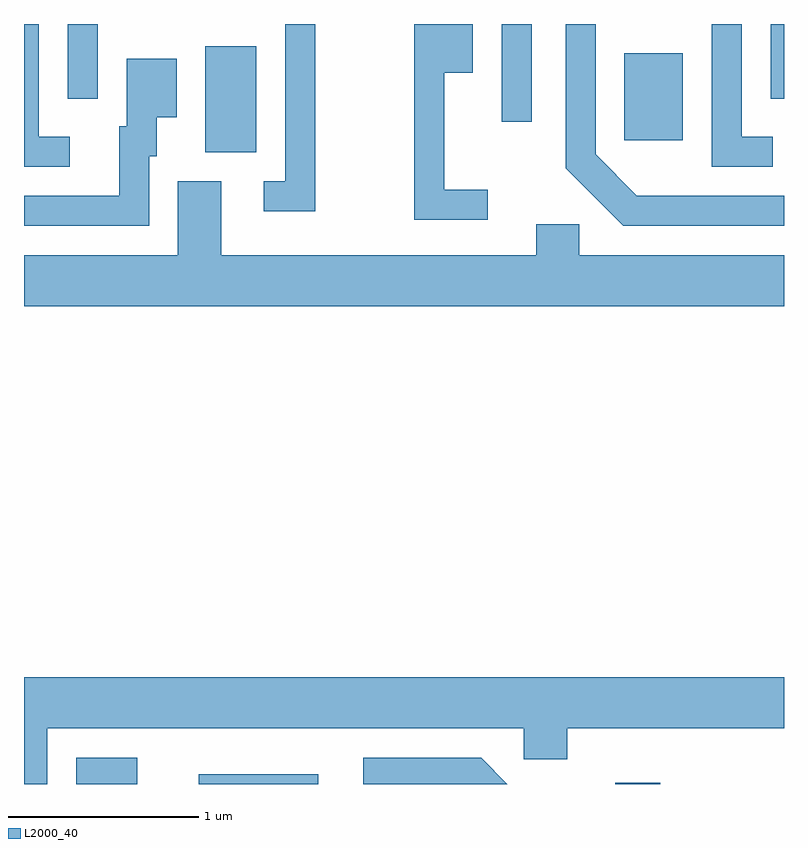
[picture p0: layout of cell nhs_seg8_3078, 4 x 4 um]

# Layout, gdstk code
import gdstk
lib = gdstk.Library(unit=1e-6, precision=1e-09)
def R(c, l, rs):  # rectangles x0, y0, x1, y1
    for r in rs: c.add(gdstk.rectangle(r[:2], r[2:], *l))
def P(c, l, *ps):  # polygons
    for p in ps: c.add(gdstk.Polygon(p, *l))
L2000_40 = (2000, 40)

nhs_seg8_3078 = lib.new_cell('nhs_seg8_3078')
R(nhs_seg8_3078, L2000_40, [(277.886,1838.342,278.208,1838.479), (278.531,1838.342,279.159,1838.394), (280.723,1838.342,280.959,1838.349), (278.566,1841.666,278.834,1842.224), (280.771,1841.731,281.079,1842.189), (280.126,1841.828,280.284,1842.342), (277.841,1841.948,277.999,1842.342), (281.541,1841.948,281.611,1842.342)])
P(nhs_seg8_3078, L2000_40, [(281.611,1841.439),(280.837,1841.439),(280.619,1841.657),(280.619,1842.342),(280.461,1842.342),(280.461,1841.584),(280.764,1841.281),(281.611,1841.281)],
  [(281.553,1841.749),(281.389,1841.749),(281.389,1842.342),(281.231,1842.342),(281.231,1841.591),(281.553,1841.591)],
  [(279.144,1842.342),(278.986,1842.342),(278.986,1841.514),(278.873,1841.514),(278.873,1841.356),(279.144,1841.356)],
  [(280.053,1841.469),(279.824,1841.469),(279.824,1842.086),(279.974,1842.086),(279.974,1842.342),(279.666,1842.342),(279.666,1841.311),(280.053,1841.311)],
  [(277.853,1841.749),(277.689,1841.749),(277.689,1842.342),(277.611,1842.342),(277.611,1841.591),(277.853,1841.591)],
  [(278.269,1841.646),(278.309,1841.646),(278.309,1841.851),(278.414,1841.851),(278.414,1842.159),(278.151,1842.159),(278.151,1841.804),(278.111,1841.804),(278.111,1841.439),(277.611,1841.439),(277.611,1841.281),(278.269,1841.281)],
  [(281.611,1841.124),(280.534,1841.124),(280.534,1841.289),(280.306,1841.289),(280.306,1841.124),(278.649,1841.124),(278.649,1841.514),(278.421,1841.514),(278.421,1841.124),(277.611,1841.124),(277.611,1840.856),(281.611,1840.856)],
  [(277.734,1838.636),(280.241,1838.636),(280.241,1838.471),(280.469,1838.471),(280.469,1838.636),(281.611,1838.636),(281.611,1838.904),(277.611,1838.904),(277.611,1838.342),(277.734,1838.342)],
  [(280.017,1838.479),(279.396,1838.479),(279.396,1838.342),(280.154,1838.342)])

lib.write_gds('nhs_seg8_3078.gds')
